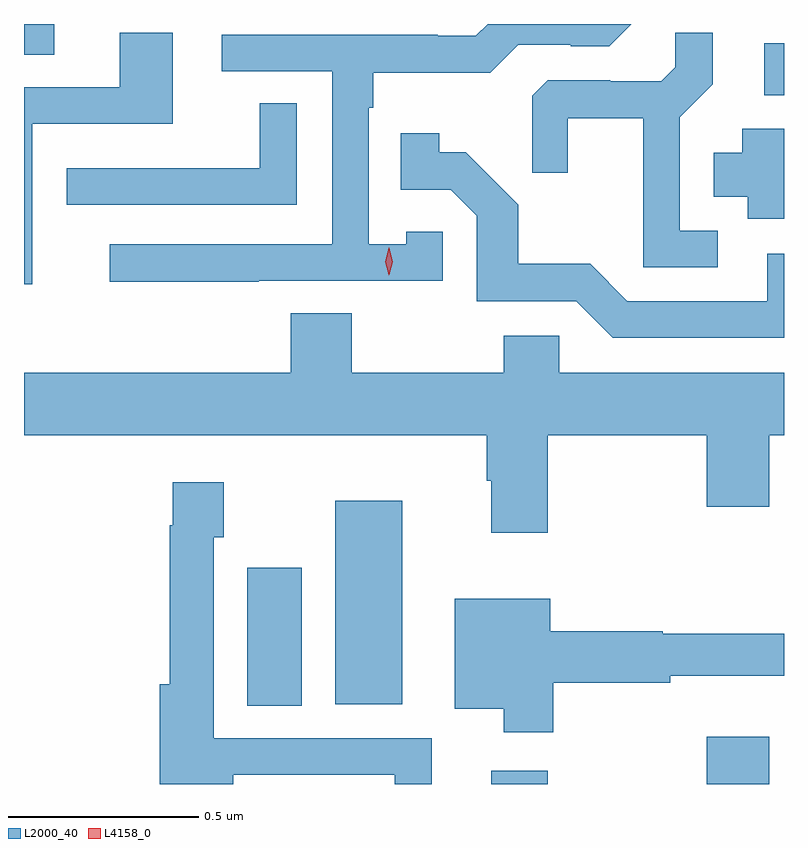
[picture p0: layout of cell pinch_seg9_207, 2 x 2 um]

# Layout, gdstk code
import gdstk
lib = gdstk.Library(unit=1e-6, precision=1e-09)
def R(c, l, rs):  # rectangles x0, y0, x1, y1
    for r in rs: c.add(gdstk.rectangle(r[:2], r[2:], *l))
def P(c, l, *ps):  # polygons
    for p in ps: c.add(gdstk.Polygon(p, *l))
L2000_40 = (2000, 40)
L4158_0 = (4158, 0)

pinch_seg9_207 = lib.new_cell('pinch_seg9_207')
R(pinch_seg9_207, L2000_40, [(524.081,1239.458,524.229,1239.493), (524.648,1239.458,524.812,1239.583), (523.439,1239.664,523.582,1240.027), (523.67,1239.668,523.846,1240.204), (524.799,1241.271,524.851,1241.407), (522.851,1241.377,522.931,1241.458)])
P(pinch_seg9_207, L2000_40, [(523.469,1240.782),(523.953,1240.782),(523.953,1240.911),(523.857,1240.911),(523.857,1240.879),(523.758,1240.879),(523.758,1241.237),(523.77,1241.237),(523.77,1241.33),(524.078,1241.33),(524.151,1241.403),(524.29,1241.403),(524.29,1241.4),(524.391,1241.4),(524.449,1241.458),(524.071,1241.458),(524.04,1241.427),(523.94,1241.427),(523.94,1241.43),(523.371,1241.43),(523.371,1241.334),(523.662,1241.334),(523.662,1240.878),(523.077,1240.878),(523.077,1240.78),(523.469,1240.78)],
  [(522.873,1241.196),(523.243,1241.196),(523.243,1241.435),(523.103,1241.435),(523.103,1241.292),(522.851,1241.292),(522.851,1240.773),(522.873,1240.773)],
  [(524.677,1240.914),(524.577,1240.914),(524.577,1241.213),(524.663,1241.299),(524.663,1241.435),(524.565,1241.435),(524.565,1241.344),(524.528,1241.307),(524.394,1241.307),(524.394,1241.31),(524.229,1241.31),(524.188,1241.269),(524.188,1241.067),(524.282,1241.067),(524.282,1241.21),(524.48,1241.21),(524.48,1240.818),(524.677,1240.818)],
  [(523.569,1241.249),(523.471,1241.249),(523.471,1241.079),(523.075,1241.079),(523.075,1241.078),(522.963,1241.078),(522.963,1240.983),(523.569,1240.983)],
  [(524.851,1241.182),(524.741,1241.182),(524.741,1241.119),(524.666,1241.119),(524.666,1241.003),(524.756,1241.003),(524.756,1240.946),(524.851,1240.946)],
  [(524.851,1240.854),(524.807,1240.854),(524.807,1240.728),(524.439,1240.728),(524.341,1240.827),(524.152,1240.827),(524.152,1240.982),(524.014,1241.12),(523.944,1241.12),(523.944,1241.17),(523.843,1241.17),(523.843,1241.022),(523.974,1241.022),(524.043,1240.953),(524.043,1240.728),(524.304,1240.728),(524.4,1240.632),(524.851,1240.632)],
  [(524.229,1240.376),(524.648,1240.376),(524.648,1240.188),(524.812,1240.188),(524.812,1240.376),(524.851,1240.376),(524.851,1240.54),(524.259,1240.54),(524.259,1240.638),(524.113,1240.638),(524.113,1240.54),(523.713,1240.54),(523.713,1240.697),(523.553,1240.697),(523.553,1240.54),(522.851,1240.54),(522.851,1240.376),(524.069,1240.376),(524.069,1240.256),(524.081,1240.256),(524.081,1240.119),(524.229,1240.119)],
  [(523.402,1239.483),(523.826,1239.483),(523.826,1239.458),(523.924,1239.458),(523.924,1239.579),(523.35,1239.579),(523.35,1240.107),(523.377,1240.107),(523.377,1240.252),(523.242,1240.252),(523.242,1240.139),(523.234,1240.139),(523.234,1239.721),(523.208,1239.721),(523.208,1239.458),(523.402,1239.458)],
  [(524.244,1239.724),(524.552,1239.724),(524.552,1239.743),(524.851,1239.743),(524.851,1239.853),(524.532,1239.853),(524.532,1239.86),(524.236,1239.86),(524.236,1239.946),(523.985,1239.946),(523.985,1239.656),(524.114,1239.656),(524.114,1239.594),(524.244,1239.594)])
P(pinch_seg9_207, L4158_0, [(523.811,1240.797),(523.811,1240.798),(523.802,1240.833),(523.811,1240.869),(523.811,1240.869),(523.812,1240.869),(523.821,1240.833),(523.812,1240.798)])

lib.write_gds('pinch_seg9_207.gds')
